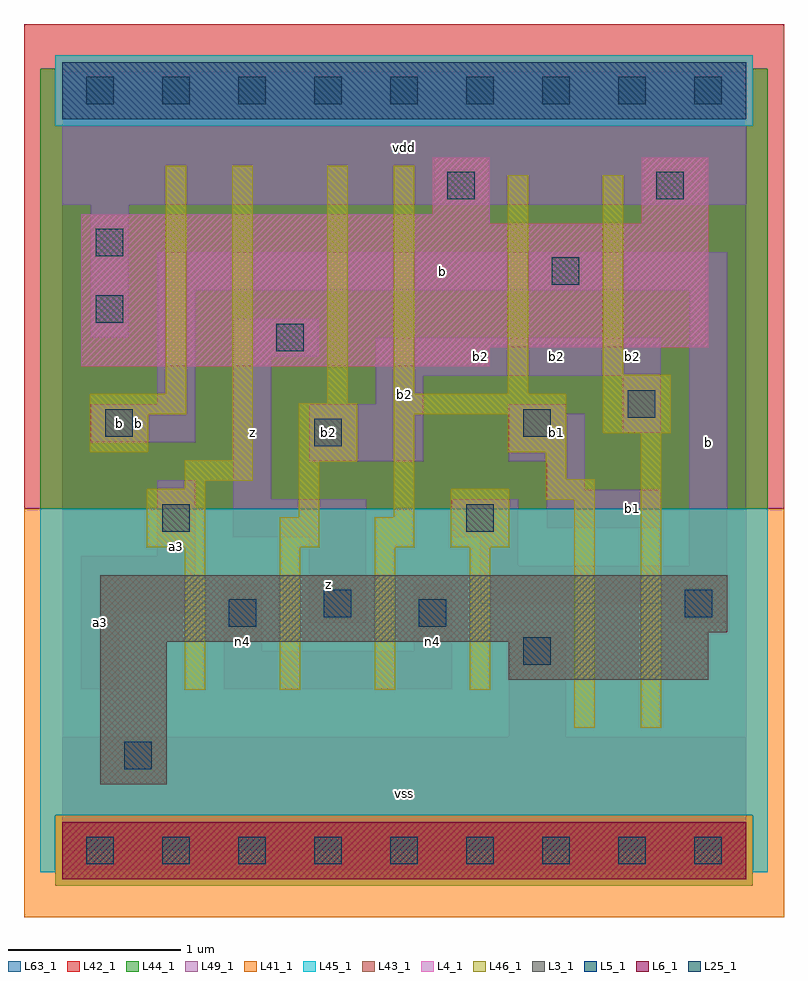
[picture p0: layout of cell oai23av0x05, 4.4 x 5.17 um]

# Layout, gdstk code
import gdstk
lib = gdstk.Library(unit=1e-6, precision=1e-09)
def R(c, l, rs):  # rectangles x0, y0, x1, y1
    for r in rs: c.add(gdstk.rectangle(r[:2], r[2:], *l))
def A(c, l, x, y, w, h, nx, ny, dx, dy):  # array of equal rectangles
    R(c, l, [(x+i*dx, y+j*dy, x+i*dx+w, y+j*dy+h) for i in range(nx) for j in range(ny)])
L3_1 = (3, 1)
L4_1 = (4, 1)
L5_1 = (5, 1)
L6_1 = (6, 1)
L25_1 = (25, 1)
L41_1 = (41, 1)
L42_1 = (42, 1)
L43_1 = (43, 1)
L44_1 = (44, 1)
L45_1 = (45, 1)
L46_1 = (46, 1)
L49_1 = (49, 1)
L63_1 = (63, 1)

oai23av0x05 = lib.new_cell('oai23av0x05')
R(oai23av0x05, L3_1, [(0.22,0.385,0.605,1.21), (2.585,0.99,3.74,1.21), (0.22,1.21,3.74,1.265), (0.22,1.265,3.85,1.595)])
R(oai23av0x05, L4_1, [(0.11,2.805,2.475,2.915), (0.11,2.915,3.74,3.63), (0.11,3.63,2.475,3.685), (3.355,3.63,3.74,4.015), (2.145,3.685,2.475,4.015)])
R(oai23av0x05, L5_1, [(0,4.235,3.96,4.565)])
R(oai23av0x05, L6_1, [(0,-0.165,3.96,0.165)])
A(oai23av0x05, L25_1, 0.14, -0.08, 0.16, 0.16, 9, 2, 0.44, 4.4)
R(oai23av0x05, L25_1, [(0.36,0.47,0.52,0.63), (2.67,1.075,2.83,1.235), (0.965,1.295,1.125,1.455), (2.065,1.295,2.225,1.455), (1.515,1.35,1.675,1.51), (3.605,1.35,3.765,1.51), (0.58,1.845,0.74,2.005), (2.34,1.845,2.5,2.005), (1.46,2.34,1.62,2.5), (0.25,2.395,0.41,2.555), (2.67,2.395,2.83,2.555), (3.275,2.505,3.435,2.665), (1.24,2.89,1.4,3.05), (0.195,3.055,0.355,3.215), (2.835,3.275,2.995,3.435), (0.195,3.44,0.355,3.6), (2.23,3.77,2.39,3.93), (3.44,3.77,3.6,3.93)])
R(oai23av0x05, L41_1, [(-0.22,-0.385,4.18,1.98)])
R(oai23av0x05, L42_1, [(-0.22,1.98,4.18,4.785)])
R(oai23av0x05, L43_1, [(0,-0.165,3.96,0.165), (0.22,0.385,0.605,1.21), (2.585,0.99,3.74,1.21), (0.22,1.21,3.74,1.265), (0.22,1.265,3.85,1.595), (0.11,2.805,2.475,2.915), (0.11,2.915,3.74,3.63), (0.11,3.63,2.475,3.685), (3.355,3.63,3.74,4.015), (2.145,3.685,2.475,4.015), (0,4.235,3.96,4.565)])
R(oai23av0x05, L44_1, [(-0.04,-0.205,4,0.205), (-0.125,1.98,4.085,4.195), (-0.125,4.195,-0.04,4.525), (4,4.195,4.085,4.525)])
R(oai23av0x05, L45_1, [(-0.125,-0.125,-0.04,0.205), (4,-0.125,4.085,0.205), (-0.125,0.205,4.085,1.98), (-0.04,4.195,4,4.605)])
A(oai23av0x05, L46_1, 0.71, 0.93, 0.12, 0.825, 4, 1, 0.55, 0)
R(oai23av0x05, L46_1, [(2.965,0.71,3.085,2.03), (3.35,0.71,3.47,2.415), (0.49,1.755,0.83,2.095), (1.26,1.755,1.49,1.93), (1.81,1.755,2.04,1.93), (2.25,1.755,2.59,2.095), (1.37,1.93,1.49,2.25), (1.92,1.93,2.04,2.525), (2.8,2.03,3.085,2.15), (0.71,2.095,0.83,2.14), (0.71,2.14,1.105,2.26), (2.8,2.15,2.92,2.305), (1.37,2.25,1.71,2.59), (0.985,2.26,1.105,3.965), (0.16,2.305,0.5,2.525), (2.58,2.305,2.92,2.525), (3.13,2.415,3.525,2.755), (0.16,2.525,0.72,2.645), (1.92,2.525,2.92,2.645), (1.535,2.59,1.655,3.965), (0.6,2.645,0.72,3.965), (1.92,2.645,2.04,3.965), (2.58,2.645,2.7,3.91), (3.13,2.755,3.25,3.91)])
R(oai23av0x05, L49_1, [(0,-0.11,3.96,0.66), (2.585,0.66,2.915,1.265), (0.11,0.935,0.33,1.375), (0.935,0.935,2.255,1.155), (0.935,1.155,1.155,1.54), (2.035,1.155,2.255,1.54), (1.43,1.32,1.76,1.815), (3.52,1.32,3.85,1.43), (0.11,1.375,0.77,1.705), (2.42,1.43,3.85,1.65), (2.42,1.65,2.64,1.815), (3.63,1.65,3.85,3.245), (0.55,1.705,0.77,2.145), (0.99,1.815,1.76,2.035), (2.255,1.815,2.64,2.035), (2.805,1.87,3.465,2.09), (0.99,2.035,1.21,2.86), (2.805,2.09,3.025,2.255), (1.43,2.255,2.09,2.585), (2.585,2.255,3.025,2.53), (0.165,2.365,0.77,2.585), (3.245,2.42,3.465,2.75), (2.585,2.53,2.915,2.585), (0.55,2.585,0.77,3.245), (1.815,2.585,2.09,2.75), (1.815,2.75,3.465,2.97), (0.99,2.86,1.485,3.08), (0.165,2.97,0.385,3.74), (0.55,3.245,3.85,3.465), (0,3.74,3.96,4.51)])
R(oai23av0x05, L63_1, [(0,0,3.96,4.4)])
oai23av0x05.add(gdstk.Label('b', (0.33,2.475), layer=49, texttype=1))
oai23av0x05.add(gdstk.Label('a3', (0.22,1.32), layer=49, texttype=1))
oai23av0x05.add(gdstk.Label('n4', (1.045,1.21), layer=49, texttype=1))
oai23av0x05.add(gdstk.Label('a3', (0.66,1.76), layer=49, texttype=1))
oai23av0x05.add(gdstk.Label('b', (0.44,2.475), layer=49, texttype=1))
oai23av0x05.add(gdstk.Label('z', (1.1,2.42), layer=49, texttype=1))
oai23av0x05.add(gdstk.Label('vss', (1.98,0.33), layer=49, texttype=1))
oai23av0x05.add(gdstk.Label('z', (1.54,1.54), layer=49, texttype=1))
oai23av0x05.add(gdstk.Label('n4', (2.145,1.21), layer=49, texttype=1))
oai23av0x05.add(gdstk.Label('b2', (1.54,2.42), layer=49, texttype=1))
oai23av0x05.add(gdstk.Label('b2', (1.98,2.64), layer=49, texttype=1))
oai23av0x05.add(gdstk.Label('vdd', (1.98,4.07), layer=49, texttype=1))
oai23av0x05.add(gdstk.Label('b1', (2.86,2.42), layer=49, texttype=1))
oai23av0x05.add(gdstk.Label('b2', (2.86,2.86), layer=49, texttype=1))
oai23av0x05.add(gdstk.Label('b2', (2.42,2.86), layer=49, texttype=1))
oai23av0x05.add(gdstk.Label('b1', (3.3,1.98), layer=49, texttype=1))
oai23av0x05.add(gdstk.Label('b2', (3.3,2.86), layer=49, texttype=1))
oai23av0x05.add(gdstk.Label('b', (3.74,2.365), layer=49, texttype=1))
oai23av0x05.add(gdstk.Label('b', (2.2,3.355), layer=49, texttype=1))

lib.write_gds('oai23av0x05.gds')
